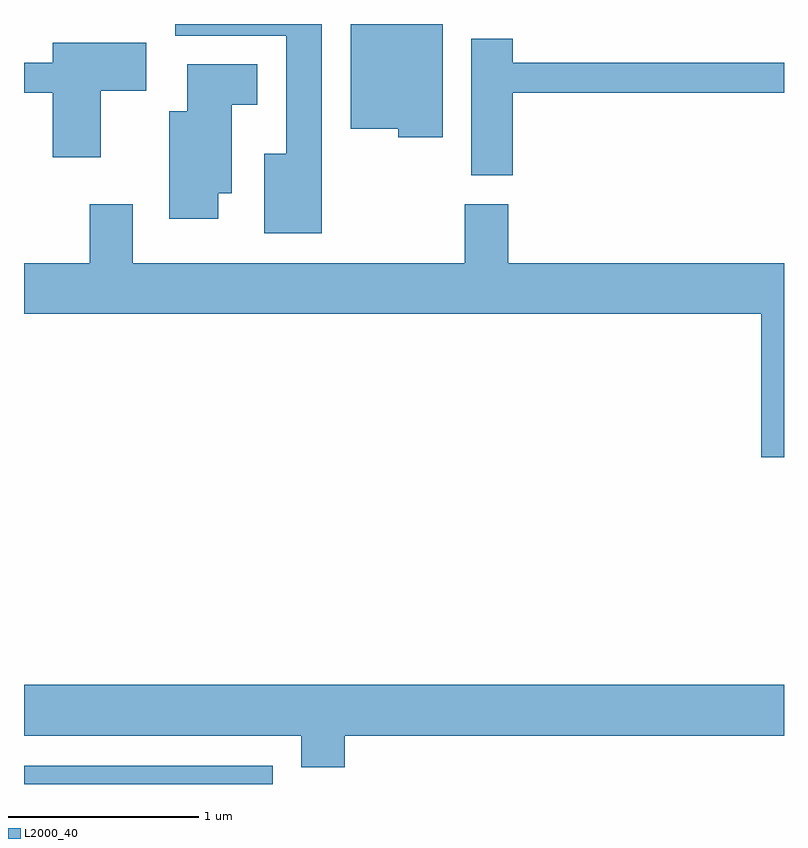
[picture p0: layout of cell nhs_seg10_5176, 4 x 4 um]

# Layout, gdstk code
import gdstk
lib = gdstk.Library(unit=1e-6, precision=1e-09)
def R(c, l, rs):  # rectangles x0, y0, x1, y1
    for r in rs: c.add(gdstk.rectangle(r[:2], r[2:], *l))
def P(c, l, *ps):  # polygons
    for p in ps: c.add(gdstk.Polygon(p, *l))
L2000_40 = (2000, 40)

nhs_seg10_5176 = lib.new_cell('nhs_seg10_5176')
R(nhs_seg10_5176, L2000_40, [(337.611,2142.522,338.919,2142.619)])
P(nhs_seg10_5176, L2000_40, [(339.814,2146.522),(339.331,2146.522),(339.331,2145.971),(339.581,2145.971),(339.581,2145.926),(339.814,2145.926)],
  [(339.179,2146.522),(338.406,2146.522),(338.406,2146.461),(338.991,2146.461),(338.991,2145.839),(338.876,2145.839),(338.876,2145.421),(339.179,2145.421)],
  [(340.184,2146.161),(341.611,2146.161),(341.611,2146.319),(340.184,2146.319),(340.184,2146.444),(339.966,2146.444),(339.966,2145.726),(340.184,2145.726)],
  [(338.014,2146.171),(338.254,2146.171),(338.254,2146.424),(337.761,2146.424),(337.761,2146.319),(337.611,2146.319),(337.611,2146.161),(337.761,2146.161),(337.761,2145.821),(338.014,2145.821)],
  [(338.634,2145.631),(338.704,2145.631),(338.704,2146.096),(338.839,2146.096),(338.839,2146.309),(338.471,2146.309),(338.471,2146.064),(338.376,2146.064),(338.376,2145.496),(338.634,2145.496)],
  [(341.611,2145.264),(340.159,2145.264),(340.159,2145.574),(339.931,2145.574),(339.931,2145.264),(338.184,2145.264),(338.184,2145.574),(337.956,2145.574),(337.956,2145.264),(337.611,2145.264),(337.611,2144.996),(341.491,2144.996),(341.491,2144.241),(341.611,2144.241)],
  [(339.299,2142.776),(341.611,2142.776),(341.611,2143.044),(337.611,2143.044),(337.611,2142.776),(339.071,2142.776),(339.071,2142.611),(339.299,2142.611)])

lib.write_gds('nhs_seg10_5176.gds')
